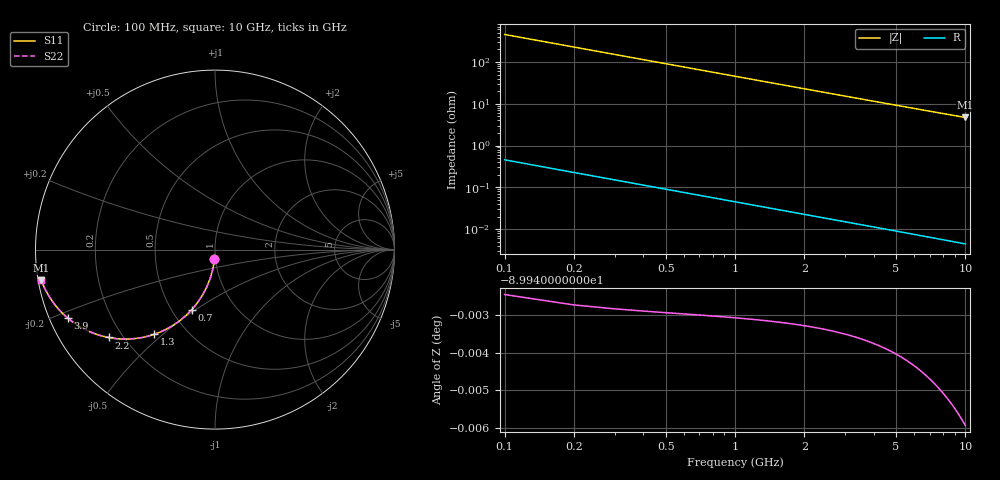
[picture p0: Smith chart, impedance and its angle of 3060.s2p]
# Hz S RI R 50.00
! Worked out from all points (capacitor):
!   100 points, 100 MHz to 10 GHz, reference 50 ohm
!   read as one part in shunt: C = 3.51 pF near 100 MHz
!   lowest |Z| = 4.7 ohm at 10 GHz (marker M1)
!   S11 on the Smith chart (normalised r, x): 100 MHz: 0.99, -0.11; 700 MHz: 0.63, -0.48; 1.3 GHz: 0.33, -0.47; 2.2 GHz: 0.15, -0.35; 3.9 GHz: 0.05, -0.22; 10 GHz: 0.01, -0.09
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1e8  -0.00308 -0.0549  0.9969 -0.055  0.9969 -0.055  -0.00308 -0.0549
2e8  -0.0121 -0.1088  0.9879 -0.109  0.9879 -0.109  -0.0121 -0.1088
3e8  -0.0268 -0.1607  0.9732 -0.1611  0.9732 -0.1611  -0.0268 -0.1607
4e8  -0.0465 -0.2099  0.9535 -0.2103  0.9535 -0.2103  -0.0465 -0.2099
5e8  -0.0708 -0.2557  0.9292 -0.2562  0.9292 -0.2562  -0.0708 -0.2557
6e8  -0.0987 -0.2975  0.9013 -0.2981  0.9013 -0.2981  -0.0987 -0.2975
7e8  -0.1297 -0.3351  0.8703 -0.3358  0.8703 -0.3358  -0.1297 -0.3351
8e8  -0.1628 -0.3683  0.8372 -0.3691  0.8372 -0.3691  -0.1628 -0.3683
1e9  -0.2328 -0.4216  0.7672 -0.4226  0.7672 -0.4226  -0.2328 -0.4216
1.3e9  -0.3385 -0.472  0.6615 -0.4734  0.6615 -0.4734  -0.3385 -0.472
1.5e9  -0.4049 -0.4896  0.595 -0.4912  0.595 -0.4912  -0.4049 -0.4896
1.8e9  -0.4945 -0.4985  0.5055 -0.5004  0.5055 -0.5004  -0.4945 -0.4985
2.2e9  -0.5932 -0.4896  0.4068 -0.4919  0.4068 -0.4919  -0.5932 -0.4896
2.5e9  -0.6528 -0.4743  0.3472 -0.4769  0.3472 -0.4769  -0.6528 -0.4743
2.8e9  -0.702 -0.4554  0.298 -0.4584  0.298 -0.4584  -0.702 -0.4554
3.4e9  -0.776 -0.4146  0.224 -0.4182  0.224 -0.4182  -0.776 -0.4146
3.9e9  -0.8198 -0.3817  0.1801 -0.3859  0.1801 -0.3859  -0.8198 -0.3817
4.5e9  -0.8581 -0.346  0.1418 -0.3508  0.1418 -0.3508  -0.8581 -0.346
5.1e9  -0.8858 -0.3148  0.1141 -0.3202  0.1141 -0.3202  -0.8858 -0.3148
6.7e9  -0.9304 -0.2503  0.0696 -0.2575  0.0696 -0.2575  -0.9304 -0.2503
8.4e9  -0.9546 -0.2031  0.0454 -0.2122  0.0454 -0.2122  -0.9546 -0.2031
1e10  -0.9676 -0.1711  0.0323 -0.1819  0.0323 -0.1819  -0.9676 -0.1711
